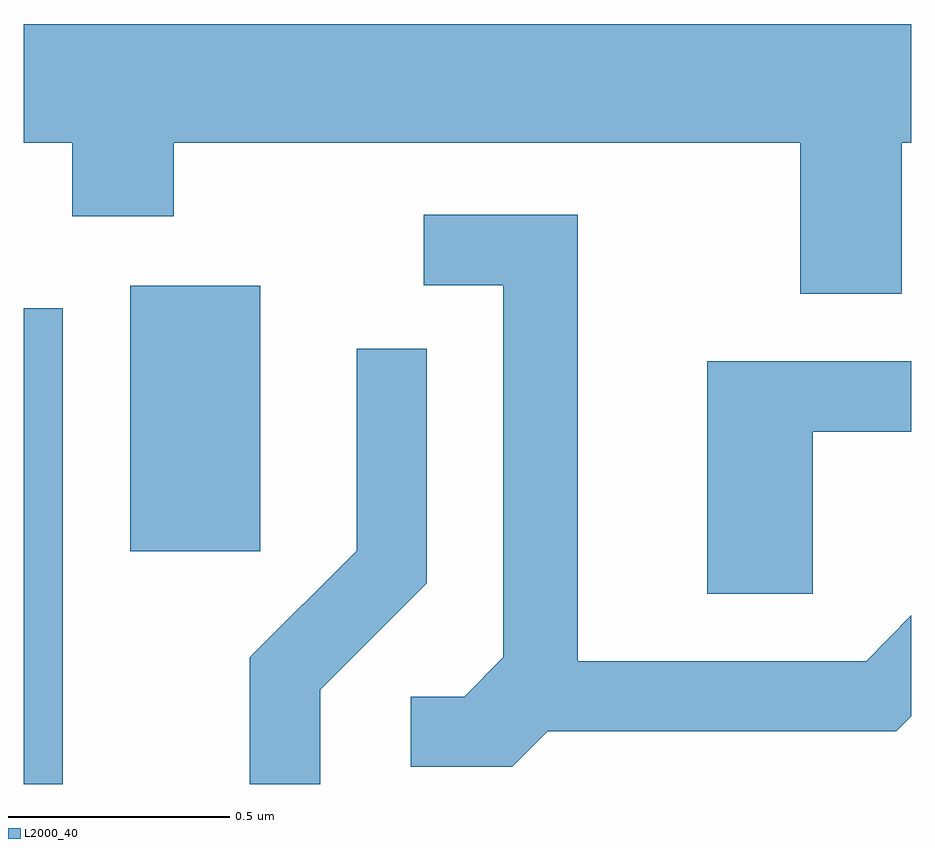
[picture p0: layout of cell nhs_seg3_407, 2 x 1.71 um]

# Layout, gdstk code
import gdstk
lib = gdstk.Library(unit=1e-6, precision=1e-09)
def R(c, l, rs):  # rectangles x0, y0, x1, y1
    for r in rs: c.add(gdstk.rectangle(r[:2], r[2:], *l))
def P(c, l, *ps):  # polygons
    for p in ps: c.add(gdstk.Polygon(p, *l))
L2000_40 = (2000, 40)

nhs_seg3_407 = lib.new_cell('nhs_seg3_407')
R(nhs_seg3_407, L2000_40, [(187.611,1248.892,187.699,1249.964), (187.851,1249.416,188.144,1250.014)])
P(nhs_seg3_407, L2000_40, [(189.589,1250.336),(189.611,1250.336),(189.611,1250.604),(187.611,1250.604),(187.611,1250.336),(187.721,1250.336),(187.721,1250.171),(187.949,1250.171),(187.949,1250.336),(189.361,1250.336),(189.361,1249.996),(189.589,1249.996)],
  [(188.792,1249.011),(189.577,1249.011),(189.611,1249.045),(189.611,1249.272),(189.509,1249.169),(188.859,1249.169),(188.859,1250.174),(188.513,1250.174),(188.513,1250.016),(188.691,1250.016),(188.691,1249.177),(188.604,1249.089),(188.483,1249.089),(188.483,1248.931),(188.712,1248.931)],
  [(188.279,1249.104),(188.519,1249.344),(188.519,1249.873),(188.361,1249.873),(188.361,1249.417),(188.121,1249.177),(188.121,1248.892),(188.279,1248.892)],
  [(189.389,1249.686),(189.611,1249.686),(189.611,1249.844),(189.151,1249.844),(189.151,1249.321),(189.389,1249.321)])

lib.write_gds('nhs_seg3_407.gds')
